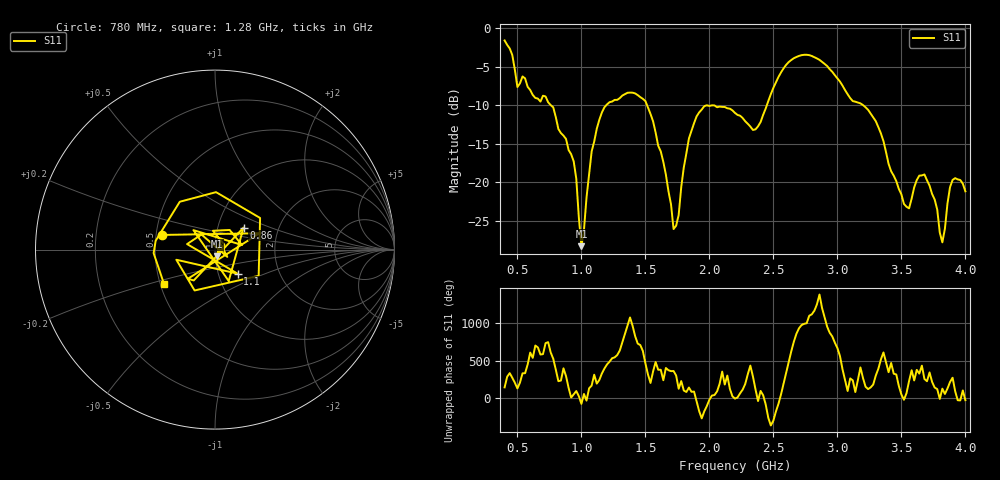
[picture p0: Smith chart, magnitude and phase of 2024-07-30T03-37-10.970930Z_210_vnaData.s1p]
!Created with skrf (http://scikit-rf.org).
# Hz S RI R 50.0
!freq ReS11 ImS11
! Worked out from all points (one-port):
!   181 points, 400 MHz to 4 GHz, reference 50 ohm
!   lowest |S11| = -28.3 dB at 1 GHz (marker M1), VSWR 1.08, Z = 50.9 - j3.79 ohm
!   |S11| at or under -10 dB: 761.2 MHz to 1.194 GHz (433 MHz wide, 44.3 % of centre); 1.513 GHz to 2.449 GHz (935.7 MHz wide, 47.2 % of centre); 3.201 GHz to end of sweep
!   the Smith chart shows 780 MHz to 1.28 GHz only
!   S11 on the Smith chart (normalised r, x): 780 MHz: 0.54, +0.10; 860 MHz: 1.33, +0.34; 1.1 GHz: 1.24, -0.34; 1.28 GHz: 0.52, -0.23
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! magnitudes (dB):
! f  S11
! 400 MHz  -1.6
! 500 MHz  -7.6
! 780 MHz  -10.3
! 860 MHz  -13.9
! 940 MHz  -17.3
! 1 GHz  -28.3
! 1.1 GHz  -14.7
! 1.18 GHz  -10.3
! 1.28 GHz  -9.3
! 1.3 GHz  -9.1
! 1.5 GHz  -9.5
! 1.64 GHz  -17.3
! 1.72 GHz  -26.0
! 1.76 GHz  -24.2
! 1.84 GHz  -14.3
! 1.9 GHz  -11.4
! 2.2 GHz  -11.0
! 2.36 GHz  -13.1
! 2.66 GHz  -3.9
! 2.86 GHz  -4.1
! 3.1 GHz  -9.1
! 3.3 GHz  -12.1
! 3.56 GHz  -23.4
! 3.68 GHz  -19.0
! 3.76 GHz  -22.2
! 3.82 GHz  -27.8
! 3.9 GHz  -19.7
! 4 GHz  -21.2
